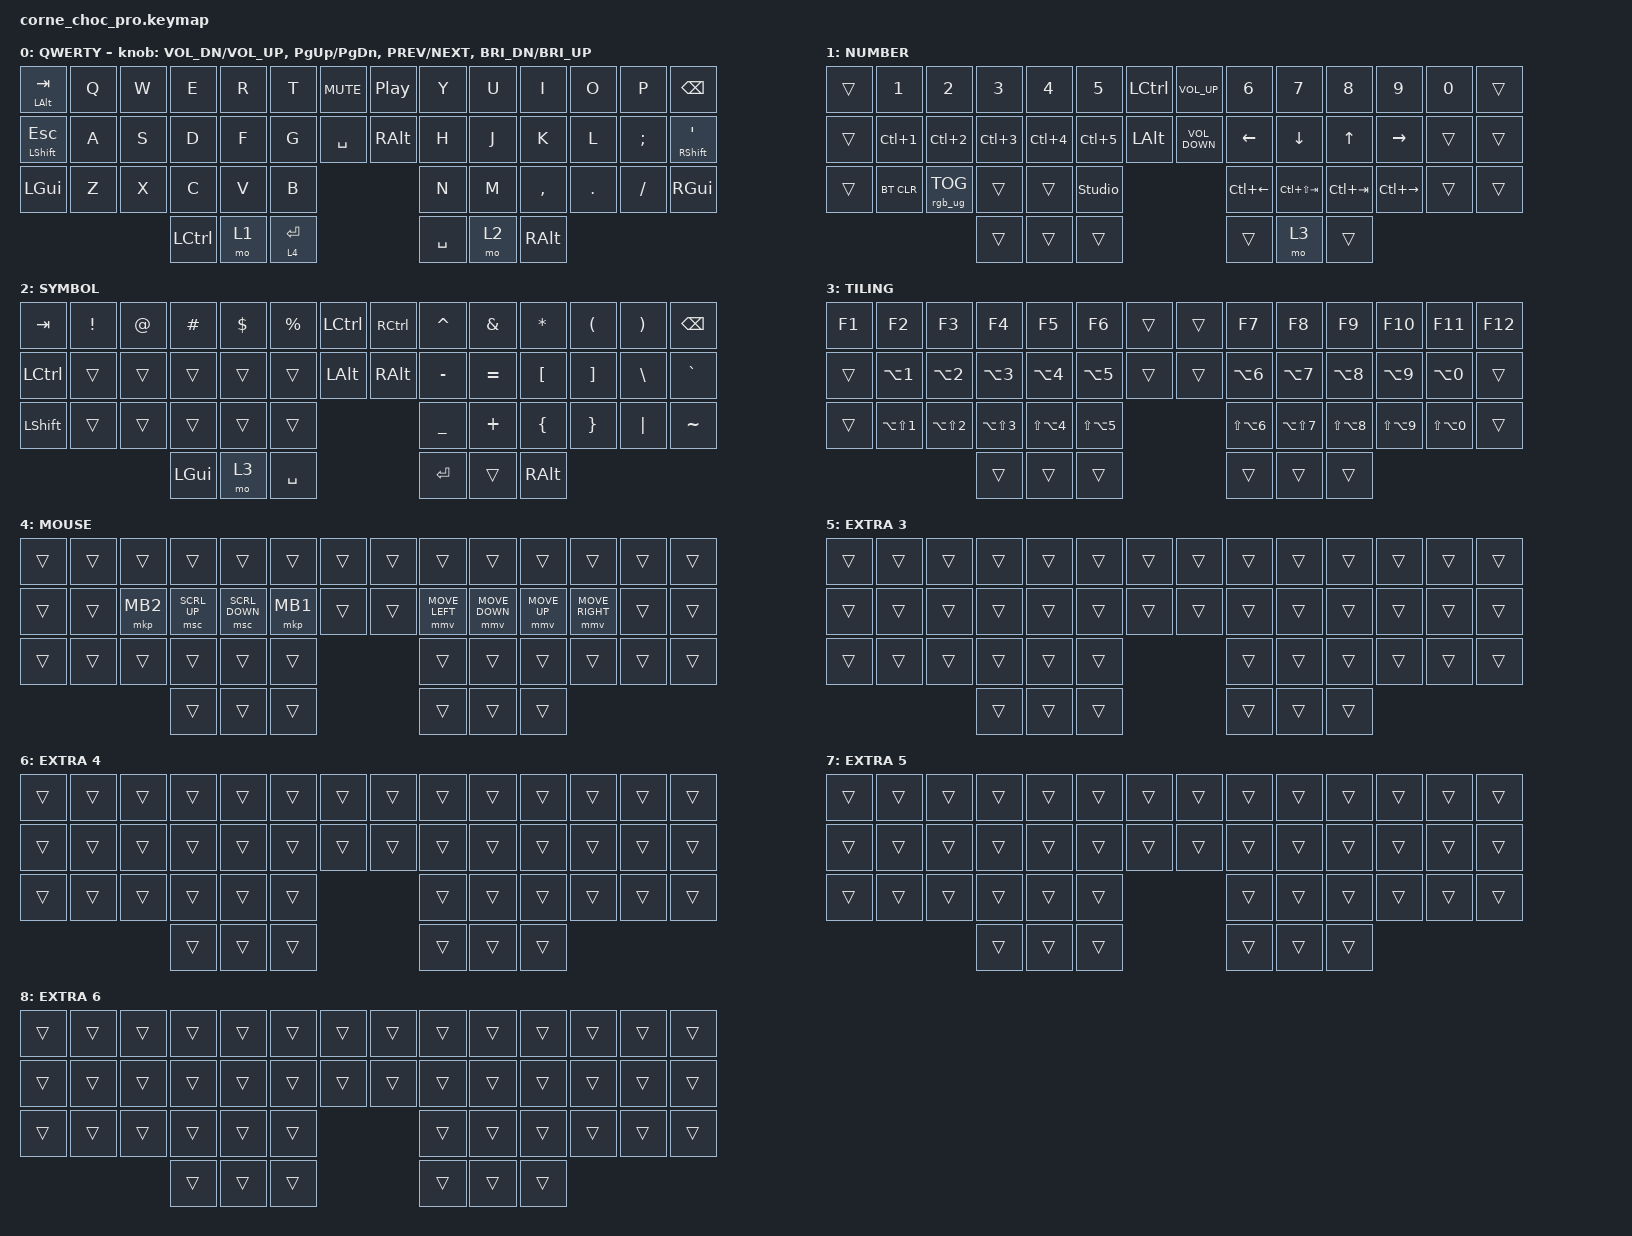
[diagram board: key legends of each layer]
/*
 * Copyright (c) 2020 The ZMK Contributors
 *
 * SPDX-License-Identifier: MIT
 */

#define ZMK_POINTING_DEFAULT_MOVE_VAL 2500  // default: 600
#define ZMK_POINTING_DEFAULT_SCRL_VAL 50    // default: 10

#include <behaviors.dtsi>
#include <dt-bindings/zmk/bt.h>
#include <dt-bindings/zmk/keys.h>
#include <dt-bindings/zmk/pointing.h>
#include <dt-bindings/zmk/rgb.h>

/ {
    chosen { zmk,physical-layout = &default_layout; };

    keymap {
        compatible = "zmk,keymap";

        default_layer {
            display-name = "QWERTY";

            // --------------------------------------------------------------------------------
            // |  TAB |  Q  |  W  |  E  |  R  |  T  |  MUTE |  PP   |  Y  |  U   |  I  |  O  |  P  | BSPC |
            // | CTRL |  A  |  S  |  D  |  F  |  G  |  LALT |  RALT |  H  |  J   |  K  |  L  |  ;  |  '   |
            // | SHFT |  Z  |  X  |  C  |  V  |  B  |               |  N  |  M   |  ,  |  .  |  /  | ESC  |
            //                    | GUI | LWR | SPC |               | ENT | RSE  | ALT |

            bindings = <
&mt LEFT_ALT TAB       &kp Q  &kp W  &kp E      &kp R  &kp T         &kp C_MUTE  &kp C_PP  &kp Y      &kp U  &kp I      &kp O    &kp P     &kp BSPC
&mt LEFT_SHIFT ESCAPE  &kp A  &kp S  &kp D      &kp F  &kp G         &kp SPACE   &kp RALT  &kp H      &kp J  &kp K      &kp L    &kp SEMI  &mt RIGHT_SHIFT SINGLE_QUOTE
&kp LEFT_GUI           &kp Z  &kp X  &kp C      &kp V  &kp B                               &kp N      &kp M  &kp COMMA  &kp DOT  &kp FSLH  &kp RIGHT_GUI
                                     &kp LCTRL  &mo 1  &lt 4 RETURN                        &kp SPACE  &mo 2  &kp RALT
            >;

            sensor-bindings = <&inc_dec_kp C_VOL_DN C_VOL_UP &inc_dec_kp PG_UP PG_DN &inc_dec_kp C_PREV C_NEXT &inc_dec_kp C_BRI_DN C_BRI_UP>;
        };

        lower_layer {
            display-name = "NUMBER";

            // -----------------------------------------------------------------------------------------
            // |  TAB |  1  |  2  |  3  |  4  |  5    |  LCTRL | RCTRL |  6  |  7  |  8  |  9  |  0  | BSPC |
            // | CTRL | BT1 | BT2 | BT3 | BT4 | BT5   |  LALT  | RALT  | LFT | DWN |  UP | RGT |     |      |
            // | SHFT | BTCR| RGB | RST | BOOT| Unlock|        |       |     |     |     |     |     |      |
            //                    | GUI |     | SPC   |        | ENT   |     | ALT |

            bindings = <
&trans  &kp N1            &kp N2            &kp N3            &kp N4            &kp N5          &kp LCTRL  &kp K_VOLUME_UP    &kp N6        &kp N7           &kp N8       &kp N9         &kp N0  &trans
&trans  &kp LC(NUMBER_1)  &kp LC(NUMBER_2)  &kp LC(NUMBER_3)  &kp LC(NUMBER_4)  &kp LC(N5)      &kp LALT   &kp K_VOLUME_DOWN  &kp LEFT      &kp DOWN         &kp UP       &kp RIGHT      &trans  &trans
&trans  &bt BT_CLR        &rgb_ug RGB_TOG   &trans            &trans            &studio_unlock                                &kp LC(LEFT)  &kp LC(LS(TAB))  &kp LC(TAB)  &kp LC(RIGHT)  &trans  &trans
                                            &trans            &trans            &trans                                        &trans        &mo 3            &trans
            >;
        };

        raise_layer {
            display-name = "SYMBOL";

            // -----------------------------------------------------------------------------------------
            // |  TAB |  !  |  @  |  #  |  $  |  %  | LCTRL | RCTRL |  ^  |  &  |  *  |  (  |  )  | BSPC |
            // | CTRL |     |     |     |     |     |  LALT | RALT  |  -  |  =  |  [  |  ]  |  \  |  `   |
            // | SHFT |     |     |     |     |     |               |  _  |  +  |  {  |  }  | "|" |  ~   |
            //                    | GUI |     | SPC |               | ENT |     | ALT |

            bindings = <
&kp TAB    &kp EXCL  &kp AT  &kp HASH  &kp DLLR  &kp PRCNT  &kp LCTRL  &kp RCTRL  &kp CARET  &kp AMPS   &kp ASTRK  &kp LPAR  &kp RPAR  &kp BSPC
&kp LCTRL  &trans    &trans  &trans    &trans    &trans     &kp LALT   &kp RALT   &kp MINUS  &kp EQUAL  &kp LBKT   &kp RBKT  &kp BSLH  &kp GRAVE
&kp LSHFT  &trans    &trans  &trans    &trans    &trans                           &kp UNDER  &kp PLUS   &kp LBRC   &kp RBRC  &kp PIPE  &kp TILDE
                             &kp LGUI  &mo 3     &kp SPACE                        &kp RET    &trans     &kp RALT
            >;
        };

        extra_layer_1 {
            display-name = "TILING";
            bindings = <
&kp F1  &kp F2            &kp F3          &kp F4          &kp F5          &kp F6          &trans  &trans  &kp F7          &kp F8          &kp F9          &kp F10         &kp F11         &kp F12
&trans  &kp LA(NUMBER_1)  &kp LA(N2)      &kp LA(N3)      &kp LA(N4)      &kp LA(N5)      &trans  &trans  &kp LA(N6)      &kp LA(N7)      &kp LA(N8)      &kp LA(N9)      &kp LA(N0)      &trans
&trans  &kp LA(LS(N1))    &kp LA(LS(N2))  &kp LA(LS(N3))  &kp LS(LA(N4))  &kp LS(LA(N5))                  &kp LS(LA(N6))  &kp LA(LS(N7))  &kp LS(LA(N8))  &kp LS(LA(N9))  &kp LS(LA(N0))  &trans
                                          &trans          &trans          &trans                          &trans          &trans          &trans
            >;
        };

        extra_layer_2 {
            display-name = "MOUSE";
            bindings = <
&trans  &trans  &trans    &trans        &trans          &trans    &trans  &trans  &trans          &trans          &trans        &trans           &trans  &trans
&trans  &trans  &mkp MB2  &msc SCRL_UP  &msc SCRL_DOWN  &mkp MB1  &trans  &trans  &mmv MOVE_LEFT  &mmv MOVE_DOWN  &mmv MOVE_UP  &mmv MOVE_RIGHT  &trans  &trans
&trans  &trans  &trans    &trans        &trans          &trans                    &trans          &trans          &trans        &trans           &trans  &trans
                          &trans        &trans          &trans                    &trans          &trans          &trans
            >;
        };

        extra_layer_3 {
            display-name = "EXTRA 3";
            bindings = <
&trans  &trans  &trans  &trans  &trans  &trans  &trans  &trans  &trans  &trans  &trans  &trans  &trans  &trans
&trans  &trans  &trans  &trans  &trans  &trans  &trans  &trans  &trans  &trans  &trans  &trans  &trans  &trans
&trans  &trans  &trans  &trans  &trans  &trans                  &trans  &trans  &trans  &trans  &trans  &trans
                        &trans  &trans  &trans                  &trans  &trans  &trans
            >;
        };

        extra_layer_4 {
            display-name = "EXTRA 4";
            bindings = <
&trans  &trans  &trans  &trans  &trans  &trans  &trans  &trans  &trans  &trans  &trans  &trans  &trans  &trans
&trans  &trans  &trans  &trans  &trans  &trans  &trans  &trans  &trans  &trans  &trans  &trans  &trans  &trans
&trans  &trans  &trans  &trans  &trans  &trans                  &trans  &trans  &trans  &trans  &trans  &trans
                        &trans  &trans  &trans                  &trans  &trans  &trans
            >;
        };

        extra_layer_5 {
            display-name = "EXTRA 5";
            bindings = <
&trans  &trans  &trans  &trans  &trans  &trans  &trans  &trans  &trans  &trans  &trans  &trans  &trans  &trans
&trans  &trans  &trans  &trans  &trans  &trans  &trans  &trans  &trans  &trans  &trans  &trans  &trans  &trans
&trans  &trans  &trans  &trans  &trans  &trans                  &trans  &trans  &trans  &trans  &trans  &trans
                        &trans  &trans  &trans                  &trans  &trans  &trans
            >;
        };

        extra_layer_6 {
            display-name = "EXTRA 6";
            bindings = <
&trans  &trans  &trans  &trans  &trans  &trans  &trans  &trans  &trans  &trans  &trans  &trans  &trans  &trans
&trans  &trans  &trans  &trans  &trans  &trans  &trans  &trans  &trans  &trans  &trans  &trans  &trans  &trans
&trans  &trans  &trans  &trans  &trans  &trans                  &trans  &trans  &trans  &trans  &trans  &trans
                        &trans  &trans  &trans                  &trans  &trans  &trans
            >;
        };
    };
};
